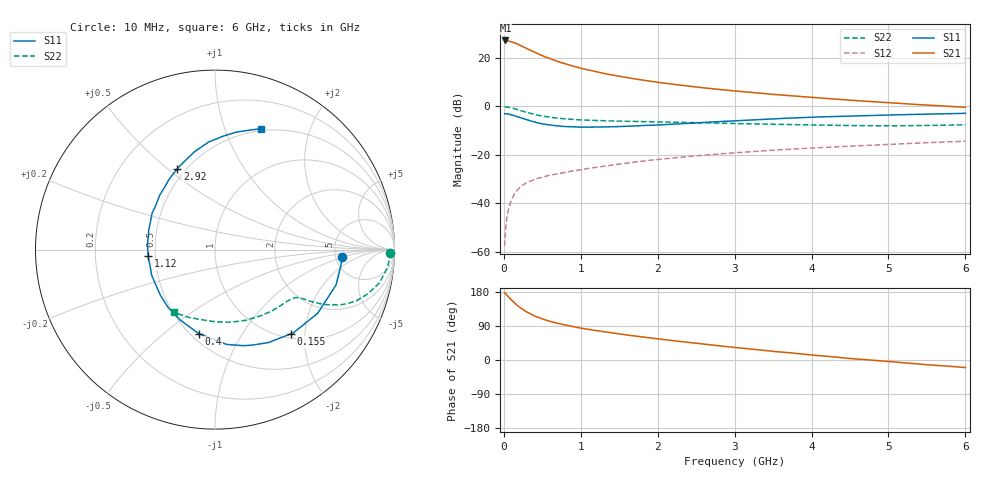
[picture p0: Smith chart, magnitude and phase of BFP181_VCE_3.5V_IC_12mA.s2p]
! Infineon Technologies  Discrete & RF Semiconductors
! BFP181
! VCE = 3.5 V,  IC =  12 mA
! Common Emitter S-Parameters:  Jan 2016
# GHz  S  MA  R  50
!  f  S11  S21  S12  S22
! GHz  MAG  ANG  MAG  ANG  MAG  ANG  MAG  ANG
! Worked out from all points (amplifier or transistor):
!   210 points, 10 MHz to 6 GHz, reference 50 ohm
!   highest |S21| = 27.2 dB at 20 MHz (marker M1)
!   |S21| within 3 dB of that: start of sweep to 276.5 MHz
!   unconditionally stable (mu >= 1): 983.5 MHz to 5.998 GHz
!   at 185 MHz: K = 0.31, MSG = 29.9 dB, |S12| = -34.2 dB
!   at 1.52 GHz: K = 1.14, MAG = 15.8 dB, |S12| = -23.7 dB
!   at 6 GHz: K = 1.00, MSG = 7.0 dB, |S12| = -14.4 dB
!   S11 on the Smith chart (normalised r, x): 10 MHz: 5.67, -0.92; 155 MHz: 1.09, -1.70; 400 MHz: 0.55, -0.67; 1.12 GHz: 0.46, -0.04; 2.92 GHz: 0.45, +0.54; 6 GHz: 0.48, +1.34
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0.01  0.707 -3.3  22.93 177.4  0.0013 76.8  0.9747 -1.0
0.02  0.7075 -6.8  23.01 175.5  0.0024 73.7  0.9771 -2.2
0.05  0.7027 -16.3  22.72 168.7  0.0064 85.8  0.9656 -6.0
0.1  0.6732 -31.8  21.48 158.2  0.0118 73.8  0.9346 -11.5
0.155  0.6316 -48.0  20.04 147.5  0.0171 67.8  0.8828 -16.4
0.2  0.5973 -60.1  18.72 139.9  0.0207 63.8  0.8394 -19.8
0.26  0.5572 -73.8  16.75 131.4  0.0245 60.1  0.7837 -22.8
0.3  0.5326 -82.9  15.67 126.5  0.0269 57.7  0.7494 -24.3
0.4  0.477 -100.9  13.14 115.9  0.0312 53.5  0.6807 -26.7
0.5  0.437 -116.5  11.11 108.2  0.0346 51.4  0.6309 -27.9
0.6  0.4151 -128.9  9.675 101.9  0.038 50.5  0.5963 -28.6
0.7  0.3965 -140.2  8.417 96.6  0.0404 50.5  0.5707 -29.0
0.8  0.3837 -150.0  7.543 92.0  0.0433 50.8  0.5523 -29.4
1.02  0.3724 -167.6  6.037 83.5  0.0497 50.9  0.5251 -30.6
1.12  0.3743 -174.6  5.554 80.1  0.053 50.8  0.5172 -31.4
1.5  0.3846 164.1  4.189 68.7  0.0646 50.8  0.4968 -34.9
2.02  0.4144 141.9  3.114 55.4  0.0806 49.0  0.4784 -41.5
2.92  0.4971 114.9  2.147 34.9  0.1078 43.7  0.4466 -55.7
3.1  0.514 110.6  2.02 31.3  0.113 42.5  0.4396 -58.9
4.1  0.6058 91.9  1.496 11.6  0.1408 34.9  0.411 -79.3
5.1  0.6706 78.5  1.164 -5.7  0.1666 27.7  0.3981 -102.2
6  0.7203 69.2  0.96 -19.9  0.1913 20.5  0.4176 -123.3
